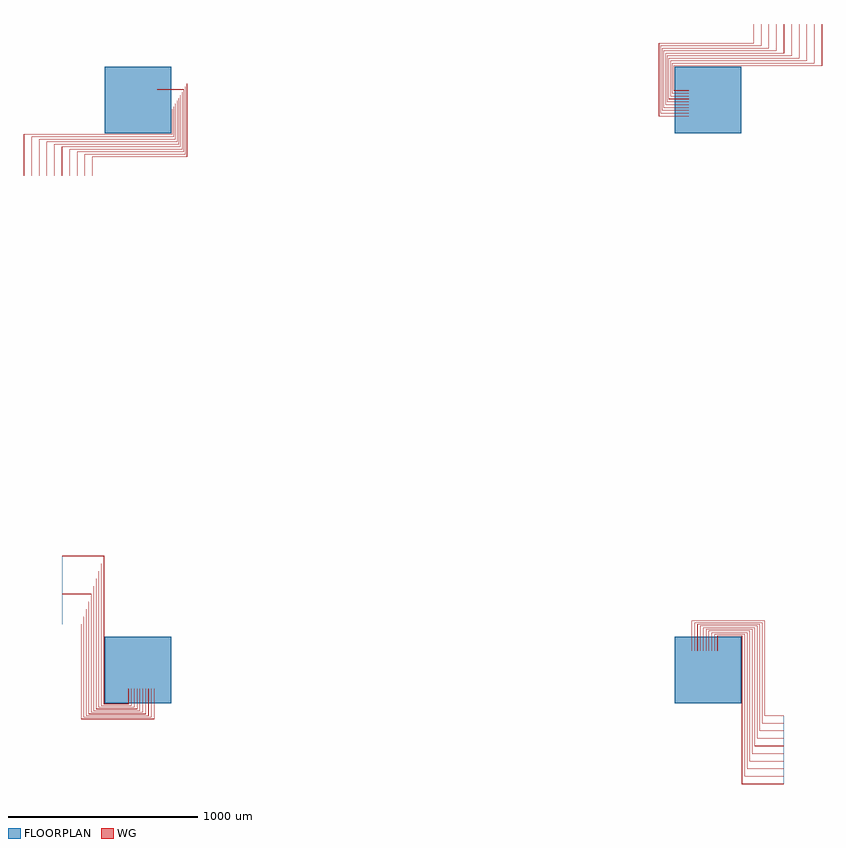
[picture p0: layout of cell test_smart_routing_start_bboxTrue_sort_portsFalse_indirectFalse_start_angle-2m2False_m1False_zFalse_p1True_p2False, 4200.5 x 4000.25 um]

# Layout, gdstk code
import gdstk
lib = gdstk.Library(unit=1e-6, precision=1e-09)
def R(c, l, rs):  # rectangles x0, y0, x1, y1
    for r in rs: c.add(gdstk.rectangle(r[:2], r[2:], *l))
def P(c, l, *ps):  # polygons
    for p in ps: c.add(gdstk.Polygon(p, *l))
WG = (1, 0)
FLOORPLAN = (10, 0)

test_smart_routing_start = lib.new_cell('test_smart_routing_start_bboxTrue_sort_portsFalse_indirectFalse_start_angle-2m2False_m1False_zFalse_p1True_p2False')
P(test_smart_routing_start, WG, [(-179.5,-179.5),(-179.5,599.75),(-400,599.75),(-400,599.95),(-179.3,599.95),(-179.3,-179.3),(-49.95,-179.3),(-49.95,-100),(-49.75,-100),(-49.75,-179.5)],
  [(-179.2,-179.2),(-179.2,600.05),(-400,600.05),(-400,600.25),(-179,600.25),(-179,-179),(-50.25,-179),(-50.25,-100),(-50.05,-100),(-50.05,-179.2)],
  [(-192.75,-188.25),(-192.75,559.75),(-400,559.75),(-400,559.95),(-192.55,559.95),(-192.55,-188.05),(-34.95,-188.05),(-34.95,-100),(-34.75,-100),(-34.75,-188.25)],
  [(-192.45,-187.95),(-192.45,560.05),(-400,560.05),(-400,560.25),(-192.25,560.25),(-192.25,-187.75),(-35.25,-187.75),(-35.25,-100),(-35.05,-100),(-35.05,-187.95)],
  [(-206,-197),(-206,519.75),(-400,519.75),(-400,519.95),(-205.8,519.95),(-205.8,-196.8),(-19.95,-196.8),(-19.95,-100),(-19.75,-100),(-19.75,-197)],
  [(-205.7,-196.7),(-205.7,520.05),(-400,520.05),(-400,520.25),(-205.5,520.25),(-205.5,-196.5),(-20.25,-196.5),(-20.25,-100),(-20.05,-100),(-20.05,-196.7)],
  [(-219.25,-205.75),(-219.25,479.75),(-400,479.75),(-400,479.95),(-219.05,479.95),(-219.05,-205.55),(-4.95,-205.55),(-4.95,-100),(-4.75,-100),(-4.75,-205.75)],
  [(-218.95,-205.45),(-218.95,480.05),(-400,480.05),(-400,480.25),(-218.75,480.25),(-218.75,-205.25),(-5.25,-205.25),(-5.25,-100),(-5.05,-100),(-5.05,-205.45)],
  [(-232.5,-214.5),(-232.5,439.75),(-400,439.75),(-400,439.95),(-232.3,439.95),(-232.3,-214.3),(10.05,-214.3),(10.05,-100),(10.25,-100),(10.25,-214.5)],
  [(-232.2,-214.2),(-232.2,440.05),(-400,440.05),(-400,440.25),(-232,440.25),(-232,-214),(9.75,-214),(9.75,-100),(9.95,-100),(9.95,-214.2)],
  [(-245.75,-223.25),(-245.75,399.75),(-400,399.75),(-400,399.95),(-245.55,399.95),(-245.55,-223.05),(25.05,-223.05),(25.05,-100),(25.25,-100),(25.25,-223.25)],
  [(-245.45,-222.95),(-245.45,400.05),(-400,400.05),(-400,400.25),(-245.25,400.25),(-245.25,-222.75),(24.75,-222.75),(24.75,-100),(24.95,-100),(24.95,-222.95)],
  [(-259,-232),(-259,359.75),(-400,359.75),(-400,359.95),(-258.8,359.95),(-258.8,-231.8),(40.05,-231.8),(40.05,-100),(40.25,-100),(40.25,-232)],
  [(-258.7,-231.7),(-258.7,360.05),(-400,360.05),(-400,360.25),(-258.5,360.25),(-258.5,-231.5),(39.75,-231.5),(39.75,-100),(39.95,-100),(39.95,-231.7)],
  [(-272.25,-240.75),(-272.25,319.75),(-400,319.75),(-400,319.95),(-272.05,319.95),(-272.05,-240.55),(55.05,-240.55),(55.05,-100),(55.25,-100),(55.25,-240.75)],
  [(-271.95,-240.45),(-271.95,320.05),(-400,320.05),(-400,320.25),(-271.75,320.25),(-271.75,-240.25),(54.75,-240.25),(54.75,-100),(54.95,-100),(54.95,-240.45)],
  [(-285.5,-249.5),(-285.5,279.75),(-400,279.75),(-400,279.95),(-285.3,279.95),(-285.3,-249.3),(70.05,-249.3),(70.05,-100),(70.25,-100),(70.25,-249.5)],
  [(-285.2,-249.2),(-285.2,280.05),(-400,280.05),(-400,280.25),(-285,280.25),(-285,-249),(69.75,-249),(69.75,-100),(69.95,-100),(69.95,-249.2)],
  [(-298.75,-258.25),(-298.75,239.75),(-400,239.75),(-400,239.95),(-298.55,239.95),(-298.55,-258.05),(85.05,-258.05),(85.05,-100),(85.25,-100),(85.25,-258.25)],
  [(-298.45,-257.95),(-298.45,240.05),(-400,240.05),(-400,240.25),(-298.25,240.25),(-298.25,-257.75),(84.75,-257.75),(84.75,-100),(84.95,-100),(84.95,-257.95)],
  [(-600.25,2600),(-600.25,2821),(179,2821),(179,2949.75),(100,2949.75),(100,2949.95),(179.2,2949.95),(179.2,2820.8),(-600.05,2820.8),(-600.05,2600)],
  [(-599.95,2600),(-599.95,2820.7),(179.3,2820.7),(179.3,2950.05),(100,2950.05),(100,2950.25),(179.5,2950.25),(179.5,2820.5),(-599.75,2820.5),(-599.75,2600)],
  [(-560.25,2600),(-560.25,2807.75),(187.75,2807.75),(187.75,2964.75),(100,2964.75),(100,2964.95),(187.95,2964.95),(187.95,2807.55),(-560.05,2807.55),(-560.05,2600)],
  [(-559.95,2600),(-559.95,2807.45),(188.05,2807.45),(188.05,2965.05),(100,2965.05),(100,2965.25),(188.25,2965.25),(188.25,2807.25),(-559.75,2807.25),(-559.75,2600)],
  [(-520.25,2600),(-520.25,2794.5),(196.5,2794.5),(196.5,2979.75),(100,2979.75),(100,2979.95),(196.7,2979.95),(196.7,2794.3),(-520.05,2794.3),(-520.05,2600)],
  [(-519.95,2600),(-519.95,2794.2),(196.8,2794.2),(196.8,2980.05),(100,2980.05),(100,2980.25),(197,2980.25),(197,2794),(-519.75,2794),(-519.75,2600)],
  [(-480.25,2600),(-480.25,2781.25),(205.25,2781.25),(205.25,2994.75),(100,2994.75),(100,2994.95),(205.45,2994.95),(205.45,2781.05),(-480.05,2781.05),(-480.05,2600)],
  [(-479.95,2600),(-479.95,2780.95),(205.55,2780.95),(205.55,2995.05),(100,2995.05),(100,2995.25),(205.75,2995.25),(205.75,2780.75),(-479.75,2780.75),(-479.75,2600)],
  [(-440.25,2600),(-440.25,2768),(214,2768),(214,3009.75),(100,3009.75),(100,3009.95),(214.2,3009.95),(214.2,2767.8),(-440.05,2767.8),(-440.05,2600)],
  [(-439.95,2600),(-439.95,2767.7),(214.3,2767.7),(214.3,3010.05),(100,3010.05),(100,3010.25),(214.5,3010.25),(214.5,2767.5),(-439.75,2767.5),(-439.75,2600)],
  [(-400.25,2600),(-400.25,2754.75),(222.75,2754.75),(222.75,3024.75),(100,3024.75),(100,3024.95),(222.95,3024.95),(222.95,2754.55),(-400.05,2754.55),(-400.05,2600)],
  [(-399.95,2600),(-399.95,2754.45),(223.05,2754.45),(223.05,3025.05),(100,3025.05),(100,3025.25),(223.25,3025.25),(223.25,2754.25),(-399.75,2754.25),(-399.75,2600)],
  [(-360.25,2600),(-360.25,2741.5),(231.5,2741.5),(231.5,3039.75),(100,3039.75),(100,3039.95),(231.7,3039.95),(231.7,2741.3),(-360.05,2741.3),(-360.05,2600)],
  [(-359.95,2600),(-359.95,2741.2),(231.8,2741.2),(231.8,3040.05),(100,3040.05),(100,3040.25),(232,3040.25),(232,2741),(-359.75,2741),(-359.75,2600)],
  [(-320.25,2600),(-320.25,2728.25),(240.25,2728.25),(240.25,3054.75),(100,3054.75),(100,3054.95),(240.45,3054.95),(240.45,2728.05),(-320.05,2728.05),(-320.05,2600)],
  [(-319.95,2600),(-319.95,2727.95),(240.55,2727.95),(240.55,3055.05),(100,3055.05),(100,3055.25),(240.75,3055.25),(240.75,2727.75),(-319.75,2727.75),(-319.75,2600)],
  [(-280.25,2600),(-280.25,2715),(249,2715),(249,3069.75),(100,3069.75),(100,3069.95),(249.2,3069.95),(249.2,2714.8),(-280.05,2714.8),(-280.05,2600)],
  [(-279.95,2600),(-279.95,2714.7),(249.3,2714.7),(249.3,3070.05),(100,3070.05),(100,3070.25),(249.5,3070.25),(249.5,2714.5),(-279.75,2714.5),(-279.75,2600)],
  [(-240.25,2600),(-240.25,2701.75),(257.75,2701.75),(257.75,3084.75),(100,3084.75),(100,3084.95),(257.95,3084.95),(257.95,2701.55),(-240.05,2701.55),(-240.05,2600)],
  [(-239.95,2600),(-239.95,2701.45),(258.05,2701.45),(258.05,3085.05),(100,3085.05),(100,3085.25),(258.25,3085.25),(258.25,2701.25),(-239.75,2701.25),(-239.75,2600)],
  [(3179,-600.25),(3179,179),(3050.25,179),(3050.25,100),(3050.05,100),(3050.05,179.2),(3179.2,179.2),(3179.2,-600.05),(3400,-600.05),(3400,-600.25)],
  [(3179.3,-599.95),(3179.3,179.3),(3049.95,179.3),(3049.95,100),(3049.75,100),(3049.75,179.5),(3179.5,179.5),(3179.5,-599.75),(3400,-599.75),(3400,-599.95)],
  [(3192.25,-560.25),(3192.25,187.75),(3035.25,187.75),(3035.25,100),(3035.05,100),(3035.05,187.95),(3192.45,187.95),(3192.45,-560.05),(3400,-560.05),(3400,-560.25)],
  [(3192.55,-559.95),(3192.55,188.05),(3034.95,188.05),(3034.95,100),(3034.75,100),(3034.75,188.25),(3192.75,188.25),(3192.75,-559.75),(3400,-559.75),(3400,-559.95)],
  [(3205.5,-520.25),(3205.5,196.5),(3020.25,196.5),(3020.25,100),(3020.05,100),(3020.05,196.7),(3205.7,196.7),(3205.7,-520.05),(3400,-520.05),(3400,-520.25)],
  [(3205.8,-519.95),(3205.8,196.8),(3019.95,196.8),(3019.95,100),(3019.75,100),(3019.75,197),(3206,197),(3206,-519.75),(3400,-519.75),(3400,-519.95)],
  [(3218.75,-480.25),(3218.75,205.25),(3005.25,205.25),(3005.25,100),(3005.05,100),(3005.05,205.45),(3218.95,205.45),(3218.95,-480.05),(3400,-480.05),(3400,-480.25)],
  [(3219.05,-479.95),(3219.05,205.55),(3004.95,205.55),(3004.95,100),(3004.75,100),(3004.75,205.75),(3219.25,205.75),(3219.25,-479.75),(3400,-479.75),(3400,-479.95)],
  [(3232,-440.25),(3232,214),(2990.25,214),(2990.25,100),(2990.05,100),(2990.05,214.2),(3232.2,214.2),(3232.2,-440.05),(3400,-440.05),(3400,-440.25)],
  [(3232.3,-439.95),(3232.3,214.3),(2989.95,214.3),(2989.95,100),(2989.75,100),(2989.75,214.5),(3232.5,214.5),(3232.5,-439.75),(3400,-439.75),(3400,-439.95)],
  [(3245.25,-400.25),(3245.25,222.75),(2975.25,222.75),(2975.25,100),(2975.05,100),(2975.05,222.95),(3245.45,222.95),(3245.45,-400.05),(3400,-400.05),(3400,-400.25)],
  [(3245.55,-399.95),(3245.55,223.05),(2974.95,223.05),(2974.95,100),(2974.75,100),(2974.75,223.25),(3245.75,223.25),(3245.75,-399.75),(3400,-399.75),(3400,-399.95)],
  [(3258.5,-360.25),(3258.5,231.5),(2960.25,231.5),(2960.25,100),(2960.05,100),(2960.05,231.7),(3258.7,231.7),(3258.7,-360.05),(3400,-360.05),(3400,-360.25)],
  [(3258.8,-359.95),(3258.8,231.8),(2959.95,231.8),(2959.95,100),(2959.75,100),(2959.75,232),(3259,232),(3259,-359.75),(3400,-359.75),(3400,-359.95)],
  [(3271.75,-320.25),(3271.75,240.25),(2945.25,240.25),(2945.25,100),(2945.05,100),(2945.05,240.45),(3271.95,240.45),(3271.95,-320.05),(3400,-320.05),(3400,-320.25)],
  [(3272.05,-319.95),(3272.05,240.55),(2944.95,240.55),(2944.95,100),(2944.75,100),(2944.75,240.75),(3272.25,240.75),(3272.25,-319.75),(3400,-319.75),(3400,-319.95)],
  [(3285,-280.25),(3285,249),(2930.25,249),(2930.25,100),(2930.05,100),(2930.05,249.2),(3285.2,249.2),(3285.2,-280.05),(3400,-280.05),(3400,-280.25)],
  [(3285.3,-279.95),(3285.3,249.3),(2929.95,249.3),(2929.95,100),(2929.75,100),(2929.75,249.5),(3285.5,249.5),(3285.5,-279.75),(3400,-279.75),(3400,-279.95)],
  [(3298.25,-240.25),(3298.25,257.75),(2915.25,257.75),(2915.25,100),(2915.05,100),(2915.05,257.95),(3298.45,257.95),(3298.45,-240.05),(3400,-240.05),(3400,-240.25)],
  [(3298.55,-239.95),(3298.55,258.05),(2914.95,258.05),(2914.95,100),(2914.75,100),(2914.75,258.25),(3298.75,258.25),(3298.75,-239.75),(3400,-239.75),(3400,-239.95)],
  [(2820.5,3049.75),(2820.5,3179.5),(3599.75,3179.5),(3599.75,3400),(3599.95,3400),(3599.95,3179.3),(2820.7,3179.3),(2820.7,3049.95),(2900,3049.95),(2900,3049.75)],
  [(2820.8,3050.05),(2820.8,3179.2),(3600.05,3179.2),(3600.05,3400),(3600.25,3400),(3600.25,3179),(2821,3179),(2821,3050.25),(2900,3050.25),(2900,3050.05)],
  [(2811.75,3034.75),(2811.75,3192.75),(3559.75,3192.75),(3559.75,3400),(3559.95,3400),(3559.95,3192.55),(2811.95,3192.55),(2811.95,3034.95),(2900,3034.95),(2900,3034.75)],
  [(2812.05,3035.05),(2812.05,3192.45),(3560.05,3192.45),(3560.05,3400),(3560.25,3400),(3560.25,3192.25),(2812.25,3192.25),(2812.25,3035.25),(2900,3035.25),(2900,3035.05)],
  [(2803,3019.75),(2803,3206),(3519.75,3206),(3519.75,3400),(3519.95,3400),(3519.95,3205.8),(2803.2,3205.8),(2803.2,3019.95),(2900,3019.95),(2900,3019.75)],
  [(2803.3,3020.05),(2803.3,3205.7),(3520.05,3205.7),(3520.05,3400),(3520.25,3400),(3520.25,3205.5),(2803.5,3205.5),(2803.5,3020.25),(2900,3020.25),(2900,3020.05)],
  [(2794.25,3004.75),(2794.25,3219.25),(3479.75,3219.25),(3479.75,3400),(3479.95,3400),(3479.95,3219.05),(2794.45,3219.05),(2794.45,3004.95),(2900,3004.95),(2900,3004.75)],
  [(2794.55,3005.05),(2794.55,3218.95),(3480.05,3218.95),(3480.05,3400),(3480.25,3400),(3480.25,3218.75),(2794.75,3218.75),(2794.75,3005.25),(2900,3005.25),(2900,3005.05)],
  [(2785.5,2989.75),(2785.5,3232.5),(3439.75,3232.5),(3439.75,3400),(3439.95,3400),(3439.95,3232.3),(2785.7,3232.3),(2785.7,2989.95),(2900,2989.95),(2900,2989.75)],
  [(2785.8,2990.05),(2785.8,3232.2),(3440.05,3232.2),(3440.05,3400),(3440.25,3400),(3440.25,3232),(2786,3232),(2786,2990.25),(2900,2990.25),(2900,2990.05)],
  [(2776.75,2974.75),(2776.75,3245.75),(3399.75,3245.75),(3399.75,3400),(3399.95,3400),(3399.95,3245.55),(2776.95,3245.55),(2776.95,2974.95),(2900,2974.95),(2900,2974.75)],
  [(2777.05,2975.05),(2777.05,3245.45),(3400.05,3245.45),(3400.05,3400),(3400.25,3400),(3400.25,3245.25),(2777.25,3245.25),(2777.25,2975.25),(2900,2975.25),(2900,2975.05)],
  [(2768,2959.75),(2768,3259),(3359.75,3259),(3359.75,3400),(3359.95,3400),(3359.95,3258.8),(2768.2,3258.8),(2768.2,2959.95),(2900,2959.95),(2900,2959.75)],
  [(2768.3,2960.05),(2768.3,3258.7),(3360.05,3258.7),(3360.05,3400),(3360.25,3400),(3360.25,3258.5),(2768.5,3258.5),(2768.5,2960.25),(2900,2960.25),(2900,2960.05)],
  [(2759.25,2944.75),(2759.25,3272.25),(3319.75,3272.25),(3319.75,3400),(3319.95,3400),(3319.95,3272.05),(2759.45,3272.05),(2759.45,2944.95),(2900,2944.95),(2900,2944.75)],
  [(2759.55,2945.05),(2759.55,3271.95),(3320.05,3271.95),(3320.05,3400),(3320.25,3400),(3320.25,3271.75),(2759.75,3271.75),(2759.75,2945.25),(2900,2945.25),(2900,2945.05)],
  [(2750.5,2929.75),(2750.5,3285.5),(3279.75,3285.5),(3279.75,3400),(3279.95,3400),(3279.95,3285.3),(2750.7,3285.3),(2750.7,2929.95),(2900,2929.95),(2900,2929.75)],
  [(2750.8,2930.05),(2750.8,3285.2),(3280.05,3285.2),(3280.05,3400),(3280.25,3400),(3280.25,3285),(2751,3285),(2751,2930.25),(2900,2930.25),(2900,2930.05)],
  [(2741.75,2914.75),(2741.75,3298.75),(3239.75,3298.75),(3239.75,3400),(3239.95,3400),(3239.95,3298.55),(2741.95,3298.55),(2741.95,2914.95),(2900,2914.95),(2900,2914.75)],
  [(2742.05,2915.05),(2742.05,3298.45),(3240.05,3298.45),(3240.05,3400),(3240.25,3400),(3240.25,3298.25),(2742.25,3298.25),(2742.25,2915.25),(2900,2915.25),(2900,2915.05)])
R(test_smart_routing_start, FLOORPLAN, [(-175,-175,175,175), (2825,-175,3175,175), (-175,2825,175,3175), (2825,2825,3175,3175)])
P(test_smart_routing_start, FLOORPLAN, [(-400,240),(-400,600),(-400,600),(-400,240)],
  [(-600,2600),(-600,2600),(-240,2600),(-240,2600)],
  [(3400,-600),(3400,-240),(3400,-240),(3400,-600)],
  [(3240,3400),(3240,3400),(3600,3400),(3600,3400)])

lib.write_gds('test_smart_routing_start_bboxTrue_sort_portsFalse_indirectFalse_start_angle-2m2False_m1False_zFalse_p1True_p2False.gds')
